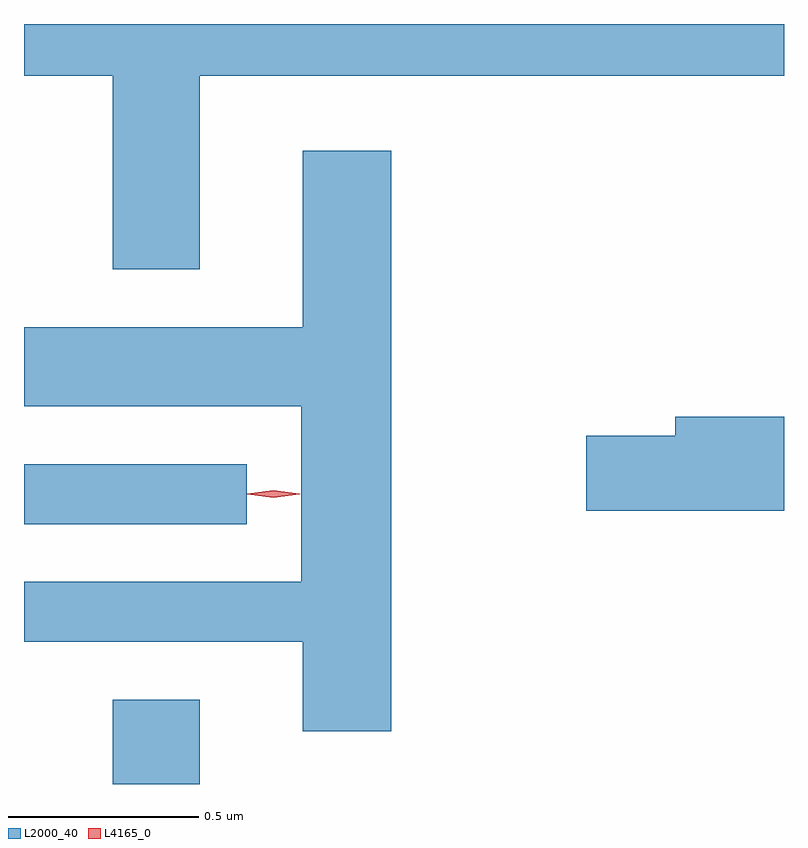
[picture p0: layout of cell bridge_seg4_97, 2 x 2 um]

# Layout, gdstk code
import gdstk
lib = gdstk.Library(unit=1e-6, precision=1e-09)
def R(c, l, rs):  # rectangles x0, y0, x1, y1
    for r in rs: c.add(gdstk.rectangle(r[:2], r[2:], *l))
def P(c, l, *ps):  # polygons
    for p in ps: c.add(gdstk.Polygon(p, *l))
L2000_40 = (2000, 40)
L4165_0 = (4165, 0)

bridge_seg4_97 = lib.new_cell('bridge_seg4_97')
R(bridge_seg4_97, L2000_40, [(971.041,1366.132,971.269,1366.354), (970.807,1366.816,971.393,1366.974)])
P(bridge_seg4_97, L2000_40, [(971.269,1367.996),(972.807,1367.996),(972.807,1368.132),(970.807,1368.132),(970.807,1367.996),(971.041,1367.996),(971.041,1367.486),(971.269,1367.486)],
  [(971.774,1367.799),(971.541,1367.799),(971.541,1367.334),(970.807,1367.334),(970.807,1367.126),(971.536,1367.126),(971.536,1366.664),(970.807,1366.664),(970.807,1366.506),(971.541,1366.506),(971.541,1366.271),(971.774,1366.271)],
  [(972.807,1367.099),(972.521,1367.099),(972.521,1367.049),(972.286,1367.049),(972.286,1366.851),(972.807,1366.851)])
P(bridge_seg4_97, L4165_0, [(971.463,1366.885),(971.394,1366.894),(971.393,1366.895),(971.394,1366.896),(971.463,1366.905),(971.532,1366.896),(971.532,1366.895),(971.532,1366.894)],
  [(971.463,1366.885),(971.397,1366.894),(971.397,1366.895),(971.397,1366.896),(971.463,1366.905),(971.529,1366.896),(971.529,1366.895),(971.529,1366.894)])

lib.write_gds('bridge_seg4_97.gds')
